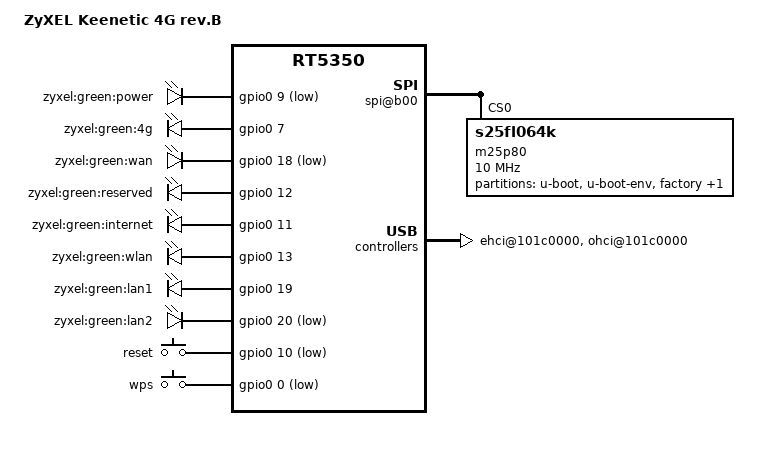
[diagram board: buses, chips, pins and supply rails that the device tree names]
/dts-v1/;

#include <dt-bindings/gpio/gpio.h>
#include <dt-bindings/input/input.h>

/include/ "rt5350.dtsi"

/ {
	compatible = "zyxel,kn_4g-b", "NBG4114", "ralink,rt5350-soc";
	model = "ZyXEL Keenetic 4G rev.B";

	palmbus@10000000 {
		spi@b00 {
			status = "okay";
			m25p80@0 {
				#address-cells = <1>;
				#size-cells = <1>;
				compatible = "s25fl064k";
				reg = <0 0>;
				linux,modalias = "m25p80", "s25fl064k";
				spi-max-frequency = <10000000>;

				partition@0 {
					label = "u-boot";
					reg = <0x0 0x30000>;
					read-only;
				};

				partition@30000 {
					label = "u-boot-env";
					reg = <0x30000 0x10000>;
					read-only;
				};

				factory: partition@40000 {
					label = "factory";
						reg = <0x40000 0x10000>;
					read-only;
				};

				partition@50000 {
					label = "firmware";
					reg = <0x50000 0x7b0000>;
				};

			};
		};
	};

	pinctrl {
		state_default: pinctrl0 {
			gpio {
				ralink,group = "i2c", "jtag", "uartf";
				ralink,function = "gpio";
			};
		};
	};

	ethernet@10100000 {
		mtd-mac-address = <&factory 0x28>;
	};

	esw@10110000 {
		ralink,portmap = <0x2f>;
		ralink,led_polarity = <0x17>;
	};

	wmac@10180000 {
		ralink,mtd-eeprom = <&factory 0>;
	};

	leds {
		compatible = "gpio-leds";

		power {
			label = "zyxel:green:power";
			gpios = <&gpio0 9 GPIO_ACTIVE_LOW>;
		};

		usb {
			label = "zyxel:green:4g";
			gpios = <&gpio0 7 GPIO_ACTIVE_HIGH>;
		};

		wan {
			label = "zyxel:green:wan";
			gpios = <&gpio0 18 GPIO_ACTIVE_LOW>;
		};

		reserved {
			label = "zyxel:green:reserved";
			gpios = <&gpio0 12 GPIO_ACTIVE_HIGH>;
		};

		internet {
			label = "zyxel:green:internet";
			gpios = <&gpio0 11 GPIO_ACTIVE_HIGH>;
		};

		wlan {
			label = "zyxel:green:wlan";
			gpios = <&gpio0 13 GPIO_ACTIVE_HIGH>;
		};

		lan1 {
			label = "zyxel:green:lan1";
			gpios = <&gpio0 19 GPIO_ACTIVE_HIGH>;
		};

		lan2 {
			label = "zyxel:green:lan2";
			gpios = <&gpio0 20 GPIO_ACTIVE_LOW>;
		};
	};


	keys {
		compatible = "gpio-keys-polled";
		poll-interval = <20>;

		reset {
			label = "reset";
			gpios = <&gpio0 10 GPIO_ACTIVE_LOW>;
			linux,code = <KEY_RESTART>;
		};

		wps {
			label = "wps";
			gpios = <&gpio0 0 GPIO_ACTIVE_LOW>;
			linux,code = <KEY_WPS_BUTTON>;
		};
	};

	ehci@101c0000 {
		status = "okay";
	};

	ohci@101c0000 {
		status = "okay";
	};

};
